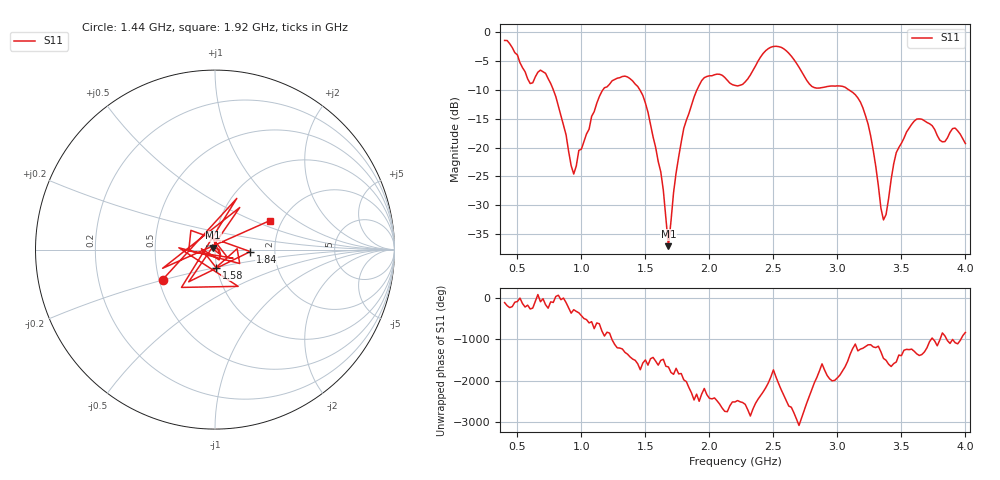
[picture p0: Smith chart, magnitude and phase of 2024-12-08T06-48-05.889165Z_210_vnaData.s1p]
!Created with skrf (http://scikit-rf.org).
# Hz S RI R 50.0
!freq ReS11 ImS11
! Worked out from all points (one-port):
!   181 points, 400 MHz to 4 GHz, reference 50 ohm
!   lowest |S11| = -37.0 dB at 1.68 GHz (marker M1), VSWR 1.03, Z = 49 + j1 ohm
!   |S11| at or under -10 dB: 780 MHz to 1.17 GHz (389.7 MHz wide, 40 % of centre); 1.455 GHz to 1.904 GHz (448.8 MHz wide, 26.7 % of centre); 3.086 GHz to end of sweep
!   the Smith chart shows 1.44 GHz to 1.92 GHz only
!   S11 on the Smith chart (normalised r, x): 1.44 GHz: 0.52, -0.20; 1.58 GHz: 0.99, -0.20; 1.84 GHz: 1.49, -0.03; 1.92 GHz: 1.73, +0.63
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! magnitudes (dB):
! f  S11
! 400 MHz  -1.5
! 600 MHz  -9.0
! 720 MHz  -7.2
! 860 MHz  -16.1
! 940 MHz  -24.6
! 1.14 GHz  -11.2
! 1.3 GHz  -7.9
! 1.44 GHz  -9.5
! 1.58 GHz  -20.0
! 1.64 GHz  -27.4
! 1.68 GHz  -37.0
! 1.76 GHz  -21.6
! 1.84 GHz  -14.1
! 1.92 GHz  -9.3
! 2.06 GHz  -7.3
! 2.2 GHz  -9.3
! 2.48 GHz  -2.7
! 2.66 GHz  -4.8
! 2.8 GHz  -9.4
! 3.1 GHz  -10.2
! 3.24 GHz  -16.0
! 3.36 GHz  -32.5
! 3.46 GHz  -20.9
! 3.56 GHz  -16.7
! 3.66 GHz  -15.1
! 3.82 GHz  -19.0
! 3.92 GHz  -16.6
! 4 GHz  -19.3
